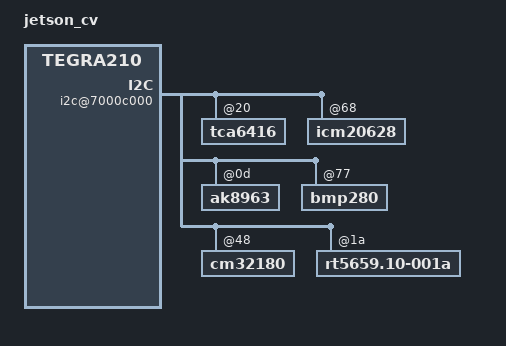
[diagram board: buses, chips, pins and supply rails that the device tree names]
/*
 * Copyright (c) 2014-2015, NVIDIA CORPORATION.  All rights reserved.
 *
 * This program is free software; you can redistribute it and/or modify
 * it under the terms of the GNU General Public License as published by
 * the Free Software Foundation; version 2 of the License.
 *
 * This program is distributed in the hope that it will be useful, but WITHOUT
 * ANY WARRANTY; without even the implied warranty of MERCHANTABILITY or
 * FITNESS FOR A PARTICULAR PURPOSE.  See the GNU General Public License for
 * more details.
 *
 */

#include "tegra210-jetson-cv-base-p2597-2180-a00.dts"
#include "tegra210-platforms/tegra210-modem-common.dtsi"
#include "tegra210-platforms/tegra210-jetson-cv-shim-p2597-2180-a00.dtsi"

/ {
	model = "jetson_cv";
	compatible = "nvidia,jetson-cv", "nvidia,tegra210";
	nvidia,dtsfilename = __FILE__;

	#address-cells = <2>;
	#size-cells = <2>;

	chosen {
		fastboot-instructions = "Press <PWR> to select, <VOL D/REC> for selection move\n";
		board-has-eeprom;
	};

	firmware {
		android {
			compatible = "android,firmware";
			hardware = "jetson_cv";
		};
	};

	i2c@7000c000 {
		tca6416@20 {
			status = "ok";
		};

		icm20628@68 {
			status = "ok";
		};

		ak8963@0d {
			status = "ok";
		};

		bmp280@77 {
			status = "ok";
		};

		cm32180@48 {
			status = "ok";
		};

		i2cmux@70 {
			status = "ok";
			i2c@3 {
				rt5659.10-001a@1a {
					status = "ok";
				};
			};
		};
	};

	sound {
		nvidia,dai-link-1 {
			codec-dai = <&rt5658_b00>;
		};
	};
};
